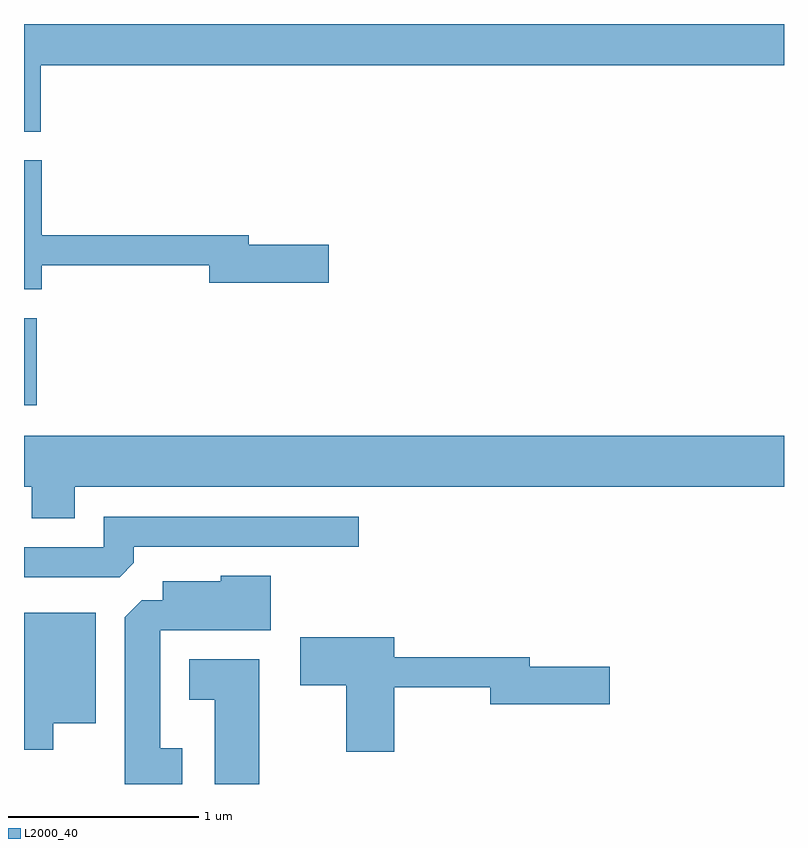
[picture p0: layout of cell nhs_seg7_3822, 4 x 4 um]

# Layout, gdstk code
import gdstk
lib = gdstk.Library(unit=1e-6, precision=1e-09)
def R(c, l, rs):  # rectangles x0, y0, x1, y1
    for r in rs: c.add(gdstk.rectangle(r[:2], r[2:], *l))
def P(c, l, *ps):  # polygons
    for p in ps: c.add(gdstk.Polygon(p, *l))
L2000_40 = (2000, 40)

nhs_seg7_3822 = lib.new_cell('nhs_seg7_3822')
R(nhs_seg7_3822, L2000_40, [(301.611,1770.246,301.679,1770.704)])
P(nhs_seg7_3822, L2000_40, [(301.699,1772.036),(305.611,1772.036),(305.611,1772.252),(301.611,1772.252),(301.611,1771.686),(301.699,1771.686)],
  [(301.704,1770.981),(302.586,1770.981),(302.586,1770.891),(303.214,1770.891),(303.214,1771.089),(302.794,1771.089),(302.794,1771.139),(301.704,1771.139),(301.704,1771.534),(301.611,1771.534),(301.611,1770.856),(301.704,1770.856)],
  [(301.879,1769.816),(305.611,1769.816),(305.611,1770.084),(301.611,1770.084),(301.611,1769.816),(301.651,1769.816),(301.651,1769.651),(301.879,1769.651)],
  [(302.189,1769.417),(302.189,1769.501),(303.373,1769.501),(303.373,1769.659),(302.031,1769.659),(302.031,1769.499),(301.611,1769.499),(301.611,1769.341),(302.114,1769.341)],
  [(302.444,1768.439),(302.329,1768.439),(302.329,1769.061),(302.909,1769.061),(302.909,1769.349),(302.646,1769.349),(302.646,1769.319),(302.341,1769.319),(302.341,1769.219),(302.232,1769.219),(302.141,1769.129),(302.141,1768.252),(302.444,1768.252)],
  [(301.764,1768.571),(301.989,1768.571),(301.989,1769.154),(301.611,1769.154),(301.611,1768.431),(301.764,1768.431)],
  [(303.559,1768.761),(304.066,1768.761),(304.066,1768.671),(304.694,1768.671),(304.694,1768.869),(304.274,1768.869),(304.274,1768.919),(303.559,1768.919),(303.559,1769.024),(303.066,1769.024),(303.066,1768.771),(303.306,1768.771),(303.306,1768.421),(303.559,1768.421)],
  [(302.849,1768.909),(302.481,1768.909),(302.481,1768.696),(302.616,1768.696),(302.616,1768.252),(302.849,1768.252)])

lib.write_gds('nhs_seg7_3822.gds')
